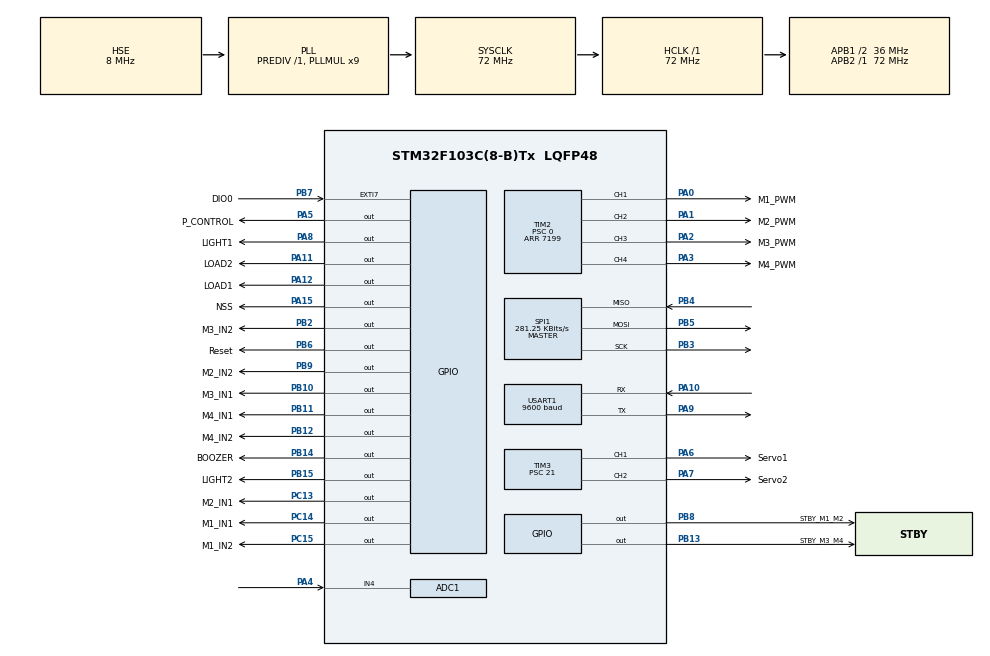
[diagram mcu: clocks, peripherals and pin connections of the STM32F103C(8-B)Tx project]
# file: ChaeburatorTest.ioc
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ADC1.Channel-10\#ChannelRegularConversion=ADC_CHANNEL_4
ADC1.Channel-9\#ChannelRegularConversion=ADC_CHANNEL_4
ADC1.ContinuousConvMode=ENABLE
ADC1.EnableInjectedConversion=DISABLE
ADC1.EnableRegularConversion=ENABLE
ADC1.NbrOfConversion=2
ADC1.NbrOfConversionFlag=1
ADC1.Rank-10\#ChannelRegularConversion=2
ADC1.Rank-9\#ChannelRegularConversion=1
ADC1.SamplingTime-10\#ChannelRegularConversion=ADC_SAMPLETIME_55CYCLES_5
ADC1.SamplingTime-9\#ChannelRegularConversion=ADC_SAMPLETIME_55CYCLES_5
ADC1.master=1
Dma.ADC1.0.Direction=DMA_PERIPH_TO_MEMORY
Dma.ADC1.0.Instance=DMA1_Channel1
Dma.ADC1.0.MemDataAlignment=DMA_MDATAALIGN_HALFWORD
Dma.ADC1.0.MemInc=DMA_MINC_ENABLE
Dma.ADC1.0.Mode=DMA_CIRCULAR
Dma.ADC1.0.PeriphDataAlignment=DMA_PDATAALIGN_HALFWORD
Dma.ADC1.0.PeriphInc=DMA_PINC_DISABLE
Dma.ADC1.0.Priority=DMA_PRIORITY_LOW
Dma.Request0=ADC1
FREERTOS.BinarySemaphores01=SemDMA_LoRa,Dynamic,NULL,Available;SemDMA_UART,Dynamic,NULL,Available;Sem_Time_RxErr,Dynamic,NULL,Available;SemDMA_VoltMeas,Dynamic,NULL,Depleted;SemControlTask,Dynamic,NULL,Depleted
FREERTOS.INCLUDE_uxTaskGetStackHighWaterMark=1
FREERTOS.INCLUDE_xQueueGetMutexHolder=0
FREERTOS.INCLUDE_xSemaphoreGetMutexHolder=0
FREERTOS.INCLUDE_xTaskGetHandle=1
FREERTOS.Queues01=UART_Rx_Que,25,uint8_t,0,Dynamic,NULL,NULL
FREERTOS.Tasks01=Servo,-2,150,StartServo,Default,NULL,Dynamic,NULL,NULL;Servo2,-2,150,StartServo2,Default,NULL,Dynamic,NULL,NULL;EngineTest,-1,150,StartEngineTest,Default,NULL,Dynamic,NULL,NULL;LoRaRx,1,300,StartLoRaRx,Default,NULL,Dynamic,NULL,NULL;RxError,0,300,StartRxError,Default,NULL,Dynamic,NULL,NULL;VoltMeas,-2,256,StartVoltMeas,Default,NULL,Dynamic,NULL,NULL;LightSignal,-2,128,StartLightSignal,Default,NULL,Dynamic,NULL,NULL;SoundAlarm,-2,128,StartSoundAlarm,Default,NULL,Dynamic,NULL,NULL;ControlTask,2,200,StartControlTask,Default,NULL,Dynamic,NULL,NULL;ConsoleTask,-2,426,StartConsoleTask,Default,NULL,Dynamic,NULL,NULL
FREERTOS.configMAX_PRIORITIES=6
FREERTOS.configTOTAL_HEAP_SIZE=11000
FREERTOS.configUSE_COUNTING_SEMAPHORES=0
FREERTOS.configUSE_MUTEXES=1
FREERTOS.configUSE_NEWLIB_REENTRANT=1
FREERTOS.configUSE_TRACE_FACILITY=1
Mcu.Family=STM32F1
Mcu.Name=STM32F103C(8-B)Tx
Mcu.Package=LQFP48
NVIC.DMA1_Channel1_IRQn=true\:5\:0\:false\:false\:true\:true\:false\:true\:true
NVIC.EXTI9_5_IRQn=true\:5\:0\:true\:false\:true\:true\:true\:true\:true
NVIC.PriorityGroup=NVIC_PRIORITYGROUP_4
NVIC.TIM1_UP_IRQn=true\:5\:0\:false\:false\:true\:true\:true\:true\:true
NVIC.USART1_IRQn=true\:5\:0\:true\:false\:true\:true\:true\:true\:true
PA0-WKUP.GPIO_Label=M1_PWM
PA0-WKUP.Signal=S_TIM2_CH1_ETR
PA1.GPIO_Label=M2_PWM
PA1.Signal=S_TIM2_CH2
PA10.Mode=Asynchronous
PA10.Signal=USART1_RX
PA11.GPIO_Label=LOAD2
PA11.GPIO_PuPd=GPIO_PULLDOWN
PA11.Signal=GPIO_Output
PA12.GPIO_Label=LOAD1
PA12.GPIO_PuPd=GPIO_PULLDOWN
PA12.Signal=GPIO_Output
PA13.Mode=Serial_Wire
PA13.Signal=SYS_JTMS-SWDIO
PA14.Mode=Serial_Wire
PA14.Signal=SYS_JTCK-SWCLK
PA15.GPIO_Label=NSS
PA15.GPIO_PuPd=GPIO_PULLUP
PA15.Signal=GPIO_Output
PA2.GPIO_Label=M3_PWM
PA2.Signal=S_TIM2_CH3
PA3.GPIO_Label=M4_PWM
PA3.Signal=S_TIM2_CH4
PA4.Signal=ADCx_IN4
PA5.GPIO_Label=P_CONTROL
PA5.GPIO_PuPd=GPIO_PULLDOWN
PA5.Signal=GPIO_Output
PA6.GPIO_Label=Servo1
PA6.Signal=S_TIM3_CH1
PA7.GPIO_Label=Servo2
PA7.Signal=S_TIM3_CH2
PA8.GPIO_Label=LIGHT1
PA8.GPIO_PuPd=GPIO_PULLUP
PA8.PinState=GPIO_PIN_SET
PA8.Signal=GPIO_Output
PA9.Mode=Asynchronous
PA9.Signal=USART1_TX
PB10.GPIO_Label=M3_IN1
PB10.Signal=GPIO_Output
PB11.GPIO_Label=M4_IN1
PB11.Signal=GPIO_Output
PB12.GPIO_Label=M4_IN2
PB12.Signal=GPIO_Output
PB13.GPIO_Label=STBY_M3_M4
PB13.Signal=GPIO_Output
PB14.GPIO_Label=BOOZER
PB14.GPIO_PuPd=GPIO_PULLDOWN
PB14.Signal=GPIO_Output
PB15.GPIO_Label=LIGHT2
PB15.GPIO_PuPd=GPIO_PULLUP
PB15.PinState=GPIO_PIN_SET
PB15.Signal=GPIO_Output
PB2.GPIO_Label=M3_IN2
PB2.Signal=GPIO_Output
PB3.Mode=Full_Duplex_Master
PB3.Signal=SPI1_SCK
PB4.Mode=Full_Duplex_Master
PB4.Signal=SPI1_MISO
PB5.Mode=Full_Duplex_Master
PB5.Signal=SPI1_MOSI
PB6.GPIO_Label=Reset
PB6.GPIO_PuPd=GPIO_PULLUP
PB6.Signal=GPIO_Output
PB7.GPIO_Label=DIO0
PB7.GPIO_ModeDefaultEXTI=GPIO_MODE_IT_RISING
PB7.GPIO_PuPd=GPIO_PULLDOWN
PB7.Signal=GPXTI7
PB8.GPIO_Label=STBY_M1_M2
PB8.Signal=GPIO_Output
PB9.GPIO_Label=M2_IN2
PB9.Signal=GPIO_Output
PC13-TAMPER-RTC.GPIO_Label=M2_IN1
PC13-TAMPER-RTC.Signal=GPIO_Output
PC14-OSC32_IN.GPIO_Label=M1_IN1
PC14-OSC32_IN.Signal=GPIO_Output
PC15-OSC32_OUT.GPIO_Label=M1_IN2
PC15-OSC32_OUT.GPIO_ModeDefaultOutputPP=GPIO_MODE_OUTPUT_PP
PC15-OSC32_OUT.Signal=GPIO_Output
PD0-OSC_IN.Mode=HSE-External-Oscillator
PD0-OSC_IN.Signal=RCC_OSC_IN
PD1-OSC_OUT.Mode=HSE-External-Oscillator
PD1-OSC_OUT.Signal=RCC_OSC_OUT
ProjectManager.HeapSize=0x200
ProjectManager.StackSize=0x400
ProjectManager.TargetToolchain=STM32CubeIDE
RCC.ADCPresc=RCC_ADCPCLK2_DIV6
RCC.AHBFreq_Value=72000000
RCC.APB1CLKDivider=RCC_HCLK_DIV2
RCC.APB1Freq_Value=36000000
RCC.APB1TimFreq_Value=72000000
RCC.APB2Freq_Value=72000000
RCC.APB2TimFreq_Value=72000000
RCC.HCLKFreq_Value=72000000
RCC.PLLMUL=RCC_PLL_MUL9
RCC.PLLSourceVirtual=RCC_PLLSOURCE_HSE
RCC.SYSCLKFreq_VALUE=72000000
RCC.SYSCLKSource=RCC_SYSCLKSOURCE_PLLCLK
RCC.USBFreq_Value=72000000
SH.ADCx_IN4.0=ADC1_IN4,IN4
SH.S_TIM2_CH1_ETR.0=TIM2_CH1,PWM Generation1 CH1
SH.S_TIM2_CH2.0=TIM2_CH2,PWM Generation2 CH2
SH.S_TIM2_CH3.0=TIM2_CH3,PWM Generation3 CH3
SH.S_TIM2_CH4.0=TIM2_CH4,PWM Generation4 CH4
SH.S_TIM3_CH1.0=TIM3_CH1,PWM Generation1 CH1
SH.S_TIM3_CH2.0=TIM3_CH2,PWM Generation2 CH2
SPI1.BaudRatePrescaler=SPI_BAUDRATEPRESCALER_256
SPI1.CalculateBaudRate=281.25 KBits/s
SPI1.Direction=SPI_DIRECTION_2LINES
SPI1.Mode=SPI_MODE_MASTER
SPI1.VirtualType=VM_MASTER
TIM1.AutoReloadPreload=TIM_AUTORELOAD_PRELOAD_DISABLE
TIM1.Period=7199
TIM1.Prescaler=9999
TIM2.Channel-PWM\ Generation1\ CH1=TIM_CHANNEL_1
TIM2.Channel-PWM\ Generation2\ CH2=TIM_CHANNEL_2
TIM2.Channel-PWM\ Generation3\ CH3=TIM_CHANNEL_3
TIM2.Channel-PWM\ Generation4\ CH4=TIM_CHANNEL_4
TIM2.Period=7199
TIM2.Prescaler=0
TIM3.Channel-PWM\ Generation1\ CH1=TIM_CHANNEL_1
TIM3.Channel-PWM\ Generation2\ CH2=TIM_CHANNEL_2
TIM3.Prescaler=21
USART1.BaudRate=9600
USART1.Parity=PARITY_ODD
USART1.VirtualMode=VM_ASYNC
USART1.WordLength=WORDLENGTH_9B
VP_FREERTOS_VS_CMSIS_V1.Mode=CMSIS_V1
VP_TIM1_VS_ClockSourceINT.Mode=Internal
board=custom

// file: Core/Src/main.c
/* USER CODE BEGIN Header */
/**
  ******************************************************************************
  * @file           : main.c
  * @brief          : Main program body
  ******************************************************************************
  * @attention
  *
  * Copyright (c) 2025 STMicroelectronics.
  * All rights reserved.
  *
  * This software is licensed under terms that can be found in the LICENSE file
  * in the root directory of this software component.
  * If no LICENSE file comes with this software, it is provided AS-IS.
  *
  *
  * Don't forget to comment   HAL_NVIC_EnableIRQ(EXTI9_5_IRQn);
  * IN MX_GPIO_Init()  so as not to disrupt the logic of the work.
  *
  * Add Servo3 Servo4
  *
  *	TIM1 htim1 is configured to interrupt every second.
  *	TIM2 htim2 is configured for 10 kHz interrupts. It is used for motor clocking.
  *	TIM3 htim3 is configured to operate at 50Hz. It is used to control the servo motor.
  *
  *
  * There is not enough memory for output to UART
  *
  *   Configure GPIO pin Output Level
//  HAL_GPIO_WritePin(LIGHT2_GPIO_Port, LIGHT2_Pin, GPIO_PIN_RESET);

	Configure GPIO pin Output Level
//  HAL_GPIO_WritePin(LIGHT1_GPIO_Port, LIGHT1_Pin, GPIO_PIN_RESET);
*/
/* USER CODE END Header */
#include "main.h"
#include "cmsis_os.h"

/* USER CODE BEGIN Includes */
#include "TestChaeburator.h"
#include "UART_Terminal.h"
/* USER CODE END Includes */

ADC_HandleTypeDef hadc1;
DMA_HandleTypeDef hdma_adc1;

SPI_HandleTypeDef hspi1;

TIM_HandleTypeDef htim1;
TIM_HandleTypeDef htim2;
TIM_HandleTypeDef htim3;

UART_HandleTypeDef huart1;

osThreadId ServoHandle;
osThreadId Servo2Handle;
osThreadId EngineTestHandle;
osThreadId LoRaRxHandle;
osThreadId RxErrorHandle;
osThreadId VoltMeasHandle;
osThreadId LightSignalHandle;
osThreadId SoundAlarmHandle;
osThreadId ControlTaskHandle;
osThreadId ConsoleTaskHandle;
osMessageQId UART_Rx_QueHandle;
osSemaphoreId SemDMA_LoRaHandle;
osSemaphoreId SemDMA_UARTHandle;
osSemaphoreId Sem_Time_RxErrHandle;
osSemaphoreId SemDMA_VoltMeasHandle;
osSemaphoreId SemControlTaskHandle;

void SystemClock_Config(void);
static void MX_GPIO_Init(void);
static void MX_DMA_Init(void);
static void MX_TIM3_Init(void);
static void MX_TIM2_Init(void);
static void MX_SPI1_Init(void);
static void MX_USART1_UART_Init(void);
static void MX_TIM1_Init(void);
static void MX_ADC1_Init(void);
void StartServo(void const * argument);
void StartServo2(void const * argument);
void StartEngineTest(void const * argument);
void StartLoRaRx(void const * argument);
void StartRxError(void const * argument);
void StartVoltMeas(void const * argument);
void StartLightSignal(void const * argument);
void StartSoundAlarm(void const * argument);
void StartControlTask(void const * argument);
void StartConsoleTask(void const * argument);

int main(void)
{

  /* MCU Configuration--------------------------------------------------------*/

  /* Reset of all peripherals, Initializes the Flash interface and the Systick. */
  HAL_Init();

  /* Configure the system clock */
  SystemClock_Config();

  /* USER CODE BEGIN SysInit */
//  osSemaphoreDef(SemDMA_LoRa);
//  SemDMA_LoRaHandle = osSemaphoreCreate(osSemaphore(SemDMA_LoRa), 1);
  /* USER CODE END SysInit */

  /* Initialize all configured peripherals */
  MX_GPIO_Init();
  MX_DMA_Init();
  MX_TIM3_Init();
  MX_TIM2_Init();
  MX_SPI1_Init();
  MX_USART1_UART_Init();
  MX_TIM1_Init();
  MX_ADC1_Init();
  /* USER CODE BEGIN 2 */

  // Test
//  TestFunction();
  StartUartRX();

  /* USER CODE END 2 */

  /* Create the semaphores(s) */
  /* definition and creation of SemDMA_LoRa */
  osSemaphoreDef(SemDMA_LoRa);
  SemDMA_LoRaHandle = osSemaphoreCreate(osSemaphore(SemDMA_LoRa), 1);

  /* definition and creation of SemDMA_UART */
  osSemaphoreDef(SemDMA_UART);
  SemDMA_UARTHandle = osSemaphoreCreate(osSemaphore(SemDMA_UART), 1);

  /* definition and creation of Sem_Time_RxErr */
  osSemaphoreDef(Sem_Time_RxErr);
  Sem_Time_RxErrHandle = osSemaphoreCreate(osSemaphore(Sem_Time_RxErr), 1);

  /* definition and creation of SemDMA_VoltMeas */
  osSemaphoreDef(SemDMA_VoltMeas);
  SemDMA_VoltMeasHandle = osSemaphoreCreate(osSemaphore(SemDMA_VoltMeas), 1);

  /* definition and creation of SemControlTask */
  osSemaphoreDef(SemControlTask);
  SemControlTaskHandle = osSemaphoreCreate(osSemaphore(SemControlTask), 1);

  /* USER CODE BEGIN RTOS_SEMAPHORES */
  /* add semaphores, ... */
  osSemaphoreWait(SemControlTaskHandle, 0);
  osSemaphoreWait(SemDMA_VoltMeasHandle, 0);
  /* USER CODE END RTOS_SEMAPHORES */

  /* Create the queue(s) */
  /* definition and creation of UART_Rx_Que */
  osMessageQDef(UART_Rx_Que, 25, uint8_t);
  UART_Rx_QueHandle = osMessageCreate(osMessageQ(UART_Rx_Que), NULL);

  /* Create the thread(s) */
  /* definition and creation of Servo */
//  osThreadDef(Servo, StartServo, osPriorityLow, 0, 150);
//  ServoHandle = osThreadCreate(osThread(Servo), NULL);
//
//  /* definition and creation of Servo2 */
//  osThreadDef(Servo2, StartServo2, osPriorityLow, 0, 150);
//  Servo2Handle = osThreadCreate(osThread(Servo2), NULL);
//
//  /* definition and creation of EngineTest */
//  osThreadDef(EngineTest, StartEngineTest, osPriorityBelowNormal, 0, 150);
//  EngineTestHandle = osThreadCreate(osThread(EngineTest), NULL);
//
//  /* definition and creation of LoRaRx */
//  osThreadDef(LoRaRx, StartLoRaRx, osPriorityAboveNormal, 0, 300);
//  LoRaRxHandle = osThreadCreate(osThread(LoRaRx), NULL);
//
//  /* definition and creation of RxError */
//  osThreadDef(RxError, StartRxError, osPriorityNormal, 0, 300);
//  RxErrorHandle = osThreadCreate(osThread(RxError), NULL);
//
//  /* definition and creation of VoltMeas */
//  osThreadDef(VoltMeas, StartVoltMeas, osPriorityLow, 0, 256);
//  VoltMeasHandle = osThreadCreate(osThread(VoltMeas), NULL);
//
//  /* definition and creation of LightSignal */
//  osThreadDef(LightSignal, StartLightSignal, osPriorityLow, 0, 128);
//  LightSignalHandle = osThreadCreate(osThread(LightSignal), NULL);
//
//  /* definition and creation of SoundAlarm */
//  osThreadDef(SoundAlarm, StartSoundAlarm, osPriorityLow, 0, 128);
//  SoundAlarmHandle = osThreadCreate(osThread(SoundAlarm), NULL);
//
//  /* definition and creation of ControlTask */
//  osThreadDef(ControlTask, StartControlTask, osPriorityHigh, 0, 200);
//  ControlTaskHandle = osThreadCreate(osThread(ControlTask), NULL);

  /* definition and creation of ConsoleTask */
  osThreadDef(ConsoleTask, StartConsoleTask, osPriorityLow, 0, 426);
  ConsoleTaskHandle = osThreadCreate(osThread(ConsoleTask), NULL);

  /* USER CODE BEGIN RTOS_THREADS */
  /* add threads, ... */
  /*
   * I've commented everything out here (all tasks, I think I've finished OS testing).
   * I'll be testing in one task. Before launching the scheduler.
   */
  /* USER CODE END RTOS_THREADS */

  /* Start scheduler */
  osKernelStart();

  /* We should never get here as control is now taken by the scheduler */

  /* Infinite loop */
  while (1)
  {

  }
}

void SystemClock_Config(void)
{
  RCC_OscInitTypeDef RCC_OscInitStruct = {0};
  RCC_ClkInitTypeDef RCC_ClkInitStruct = {0};
  RCC_PeriphCLKInitTypeDef PeriphClkInit = {0};

  /** Initializes the RCC Oscillators according to the specified parameters
  * in the RCC_OscInitTypeDef structure.
  */
  RCC_OscInitStruct.OscillatorType = RCC_OSCILLATORTYPE_HSE;
  RCC_OscInitStruct.HSEState = RCC_HSE_ON;
  RCC_OscInitStruct.HSEPredivValue = RCC_HSE_PREDIV_DIV1;
  RCC_OscInitStruct.HSIState = RCC_HSI_ON;
  RCC_OscInitStruct.PLL.PLLState = RCC_PLL_ON;
  RCC_OscInitStruct.PLL.PLLSource = RCC_PLLSOURCE_HSE;
  RCC_OscInitStruct.PLL.PLLMUL = RCC_PLL_MUL9;
  if (HAL_RCC_OscConfig(&RCC_OscInitStruct) != HAL_OK)
  {
    Error_Handler();
  }

  /** Initializes the CPU, AHB and APB buses clocks
  */
  RCC_ClkInitStruct.ClockType = RCC_CLOCKTYPE_HCLK|RCC_CLOCKTYPE_SYSCLK
                              |RCC_CLOCKTYPE_PCLK1|RCC_CLOCKTYPE_PCLK2;
  RCC_ClkInitStruct.SYSCLKSource = RCC_SYSCLKSOURCE_PLLCLK;
  RCC_ClkInitStruct.AHBCLKDivider = RCC_SYSCLK_DIV1;
  RCC_ClkInitStruct.APB1CLKDivider = RCC_HCLK_DIV2;
  RCC_ClkInitStruct.APB2CLKDivider = RCC_HCLK_DIV1;

  if (HAL_RCC_ClockConfig(&RCC_ClkInitStruct, FLASH_LATENCY_2) != HAL_OK)
  {
    Error_Handler();
  }
  PeriphClkInit.PeriphClockSelection = RCC_PERIPHCLK_ADC;
  PeriphClkInit.AdcClockSelection = RCC_ADCPCLK2_DIV6;
  if (HAL_RCCEx_PeriphCLKConfig(&PeriphClkInit) != HAL_OK)
  {
    Error_Handler();
  }
}

static void MX_ADC1_Init(void)
{

  ADC_ChannelConfTypeDef sConfig = {0};

  /** Common config
  */
  hadc1.Instance = ADC1;
  hadc1.Init.ScanConvMode = ADC_SCAN_ENABLE;
  hadc1.Init.ContinuousConvMode = ENABLE;
  hadc1.Init.DiscontinuousConvMode = DISABLE;
  hadc1.Init.ExternalTrigConv = ADC_SOFTWARE_START;
  hadc1.Init.DataAlign = ADC_DATAALIGN_RIGHT;
  hadc1.Init.NbrOfConversion = 2;
  if (HAL_ADC_Init(&hadc1) != HAL_OK)
  {
    Error_Handler();
  }

  /** Configure Regular Channel
  */
  sConfig.Channel = ADC_CHANNEL_4;
  sConfig.Rank = ADC_REGULAR_RANK_1;
  sConfig.SamplingTime = ADC_SAMPLETIME_55CYCLES_5;
  if (HAL_ADC_ConfigChannel(&hadc1, &sConfig) != HAL_OK)
  {
    Error_Handler();
  }

  /** Configure Regular Channel
  */
  sConfig.Rank = ADC_REGULAR_RANK_2;
  if (HAL_ADC_ConfigChannel(&hadc1, &sConfig) != HAL_OK)
  {
    Error_Handler();
  }

}

static void MX_SPI1_Init(void)
{

  /* SPI1 parameter configuration*/
  hspi1.Instance = SPI1;
  hspi1.Init.Mode = SPI_MODE_MASTER;
  hspi1.Init.Direction = SPI_DIRECTION_2LINES;
  hspi1.Init.DataSize = SPI_DATASIZE_8BIT;
  hspi1.Init.CLKPolarity = SPI_POLARITY_LOW;
  hspi1.Init.CLKPhase = SPI_PHASE_1EDGE;
  hspi1.Init.NSS = SPI_NSS_SOFT;
  hspi1.Init.BaudRatePrescaler = SPI_BAUDRATEPRESCALER_256;
  hspi1.Init.FirstBit = SPI_FIRSTBIT_MSB;
  hspi1.Init.TIMode = SPI_TIMODE_DISABLE;
  hspi1.Init.CRCCalculation = SPI_CRCCALCULATION_DISABLE;
  hspi1.Init.CRCPolynomial = 10;
  if (HAL_SPI_Init(&hspi1) != HAL_OK)
  {
    Error_Handler();
  }

}

static void MX_TIM1_Init(void)
{

  TIM_ClockConfigTypeDef sClockSourceConfig = {0};
  TIM_MasterConfigTypeDef sMasterConfig = {0};

  htim1.Instance = TIM1;
  htim1.Init.Prescaler = 9999;
  htim1.Init.CounterMode = TIM_COUNTERMODE_UP;
  htim1.Init.Period = 7199;
  htim1.Init.ClockDivision = TIM_CLOCKDIVISION_DIV1;
  htim1.Init.RepetitionCounter = 0;
  htim1.Init.AutoReloadPreload = TIM_AUTORELOAD_PRELOAD_DISABLE;
  if (HAL_TIM_Base_Init(&htim1) != HAL_OK)
  {
    Error_Handler();
  }
  sClockSourceConfig.ClockSource = TIM_CLOCKSOURCE_INTERNAL;
  if (HAL_TIM_ConfigClockSource(&htim1, &sClockSourceConfig) != HAL_OK)
  {
    Error_Handler();
  }
  sMasterConfig.MasterOutputTrigger = TIM_TRGO_RESET;
  sMasterConfig.MasterSlaveMode = TIM_MASTERSLAVEMODE_DISABLE;
  if (HAL_TIMEx_MasterConfigSynchronization(&htim1, &sMasterConfig) != HAL_OK)
  {
    Error_Handler();
  }

}

static void MX_TIM2_Init(void)
{

  TIM_MasterConfigTypeDef sMasterConfig = {0};
  TIM_OC_InitTypeDef sConfigOC = {0};

  htim2.Instance = TIM2;
  htim2.Init.Prescaler = 0;
  htim2.Init.CounterMode = TIM_COUNTERMODE_UP;
  htim2.Init.Period = 7199;
  htim2.Init.ClockDivision = TIM_CLOCKDIVISION_DIV1;
  htim2.Init.AutoReloadPreload = TIM_AUTORELOAD_PRELOAD_DISABLE;
  if (HAL_TIM_PWM_Init(&htim2) != HAL_OK)
  {
    Error_Handler();
  }
  sMasterConfig.MasterOutputTrigger = TIM_TRGO_RESET;
  sMasterConfig.MasterSlaveMode = TIM_MASTERSLAVEMODE_DISABLE;
  if (HAL_TIMEx_MasterConfigSynchronization(&htim2, &sMasterConfig) != HAL_OK)
  {
    Error_Handler();
  }
  sConfigOC.OCMode = TIM_OCMODE_PWM1;
  sConfigOC.Pulse = 0;
  sConfigOC.OCPolarity = TIM_OCPOLARITY_HIGH;
  sConfigOC.OCFastMode = TIM_OCFAST_DISABLE;
  if (HAL_TIM_PWM_ConfigChannel(&htim2, &sConfigOC, TIM_CHANNEL_1) != HAL_OK)
  {
    Error_Handler();
  }
  if (HAL_TIM_PWM_ConfigChannel(&htim2, &sConfigOC, TIM_CHANNEL_2) != HAL_OK)
  {
    Error_Handler();
  }
  if (HAL_TIM_PWM_ConfigChannel(&htim2, &sConfigOC, TIM_CHANNEL_3) != HAL_OK)
  {
    Error_Handler();
  }
  if (HAL_TIM_PWM_ConfigChannel(&htim2, &sConfigOC, TIM_CHANNEL_4) != HAL_OK)
  {
    Error_Handler();
  }
  HAL_TIM_MspPostInit(&htim2);

}

static void MX_TIM3_Init(void)
{

  TIM_MasterConfigTypeDef sMasterConfig = {0};
  TIM_OC_InitTypeDef sConfigOC = {0};

  htim3.Instance = TIM3;
  htim3.Init.Prescaler = 21;
  htim3.Init.CounterMode = TIM_COUNTERMODE_UP;
  htim3.Init.Period = 65535;
  htim3.Init.ClockDivision = TIM_CLOCKDIVISION_DIV1;
  htim3.Init.AutoReloadPreload = TIM_AUTORELOAD_PRELOAD_DISABLE;
  if (HAL_TIM_PWM_Init(&htim3) != HAL_OK)
  {
    Error_Handler();
  }
  sMasterConfig.MasterOutputTrigger = TIM_TRGO_RESET;
  sMasterConfig.MasterSlaveMode = TIM_MASTERSLAVEMODE_DISABLE;
  if (HAL_TIMEx_MasterConfigSynchronization(&htim3, &sMasterConfig) != HAL_OK)
  {
    Error_Handler();
  }
  sConfigOC.OCMode = TIM_OCMODE_PWM1;
  sConfigOC.Pulse = 0;
  sConfigOC.OCPolarity = TIM_OCPOLARITY_HIGH;
  sConfigOC.OCFastMode = TIM_OCFAST_DISABLE;
  if (HAL_TIM_PWM_ConfigChannel(&htim3, &sConfigOC, TIM_CHANNEL_1) != HAL_OK)
  {
    Error_Handler();
  }
  if (HAL_TIM_PWM_ConfigChannel(&htim3, &sConfigOC, TIM_CHANNEL_2) != HAL_OK)
  {
    Error_Handler();
  }
  HAL_TIM_MspPostInit(&htim3);

}

static void MX_USART1_UART_Init(void)
{

  huart1.Instance = USART1;
  huart1.Init.BaudRate = 9600;
  huart1.Init.WordLength = UART_WORDLENGTH_9B;
  huart1.Init.StopBits = UART_STOPBITS_1;
  huart1.Init.Parity = UART_PARITY_ODD;
  huart1.Init.Mode = UART_MODE_TX_RX;
  huart1.Init.HwFlowCtl = UART_HWCONTROL_NONE;
  huart1.Init.OverSampling = UART_OVERSAMPLING_16;
  if (HAL_UART_Init(&huart1) != HAL_OK)
  {
    Error_Handler();
  }

}

static void MX_DMA_Init(void)
{

  /* DMA controller clock enable */
  __HAL_RCC_DMA1_CLK_ENABLE();

  /* DMA interrupt init */
  /* DMA1_Channel1_IRQn interrupt configuration */
  HAL_NVIC_SetPriority(DMA1_Channel1_IRQn, 5, 0);
  HAL_NVIC_EnableIRQ(DMA1_Channel1_IRQn);

}

static void MX_GPIO_Init(void)
{
  GPIO_InitTypeDef GPIO_InitStruct = {0};

  /* GPIO Ports Clock Enable */
  __HAL_RCC_GPIOC_CLK_ENABLE();
  __HAL_RCC_GPIOD_CLK_ENABLE();
  __HAL_RCC_GPIOA_CLK_ENABLE();
  __HAL_RCC_GPIOB_CLK_ENABLE();

  /*Configure GPIO pin Output Level */
  HAL_GPIO_WritePin(GPIOC, M2_IN1_Pin|M1_IN1_Pin|M1_IN2_Pin, GPIO_PIN_RESET);

  /*Configure GPIO pin Output Level */
  HAL_GPIO_WritePin(GPIOA, P_CONTROL_Pin|LOAD2_Pin|LOAD1_Pin|NSS_Pin, GPIO_PIN_RESET);

  /*Configure GPIO pin Output Level */
  HAL_GPIO_WritePin(GPIOB, M3_IN2_Pin|M3_IN1_Pin|M4_IN1_Pin|M4_IN2_Pin
                          |STBY_M3_M4_Pin|BOOZER_Pin|Reset_Pin|STBY_M1_M2_Pin
                          |M2_IN2_Pin, GPIO_PIN_RESET);

  /*Configure GPIO pin Output Level */
  HAL_GPIO_WritePin(LIGHT2_GPIO_Port, LIGHT2_Pin, GPIO_PIN_SET);

  /*Configure GPIO pin Output Level */
  HAL_GPIO_WritePin(LIGHT1_GPIO_Port, LIGHT1_Pin, GPIO_PIN_SET);

  /*Configure GPIO pins : M2_IN1_Pin M1_IN1_Pin M1_IN2_Pin */
  GPIO_InitStruct.Pin = M2_IN1_Pin|M1_IN1_Pin|M1_IN2_Pin;
  GPIO_InitStruct.Mode = GPIO_MODE_OUTPUT_PP;
  GPIO_InitStruct.Pull = GPIO_NOPULL;
  GPIO_InitStruct.Speed = GPIO_SPEED_FREQ_LOW;
  HAL_GPIO_Init(GPIOC, &GPIO_InitStruct);

  /*Configure GPIO pins : P_CONTROL_Pin LOAD2_Pin LOAD1_Pin */
  GPIO_InitStruct.Pin = P_CONTROL_Pin|LOAD2_Pin|LOAD1_Pin;
  GPIO_InitStruct.Mode = GPIO_MODE_OUTPUT_PP;
  GPIO_InitStruct.Pull = GPIO_PULLDOWN;
  GPIO_InitStruct.Speed = GPIO_SPEED_FREQ_LOW;
  HAL_GPIO_Init(GPIOA, &GPIO_InitStruct);

  /*Configure GPIO pins : M3_IN2_Pin M3_IN1_Pin M4_IN1_Pin M4_IN2_Pin
                           STBY_M3_M4_Pin STBY_M1_M2_Pin M2_IN2_Pin */
  GPIO_InitStruct.Pin = M3_IN2_Pin|M3_IN1_Pin|M4_IN1_Pin|M4_IN2_Pin
                          |STBY_M3_M4_Pin|STBY_M1_M2_Pin|M2_IN2_Pin;
  GPIO_InitStruct.Mode = GPIO_MODE_OUTPUT_PP;
  GPIO_InitStruct.Pull = GPIO_NOPULL;
  GPIO_InitStruct.Speed = GPIO_SPEED_FREQ_LOW;
  HAL_GPIO_Init(GPIOB, &GPIO_InitStruct);

  /*Configure GPIO pin : BOOZER_Pin */
  GPIO_InitStruct.Pin = BOOZER_Pin;
  GPIO_InitStruct.Mode = GPIO_MODE_OUTPUT_PP;
  GPIO_InitStruct.Pull = GPIO_PULLDOWN;
  GPIO_InitStruct.Speed = GPIO_SPEED_FREQ_LOW;
  HAL_GPIO_Init(BOOZER_GPIO_Port, &GPIO_InitStruct);

  /*Configure GPIO pins : LIGHT2_Pin Reset_Pin */
  GPIO_InitStruct.Pin = LIGHT2_Pin|Reset_Pin;
  GPIO_InitStruct.Mode = GPIO_MODE_OUTPUT_PP;
  GPIO_InitStruct.Pull = GPIO_PULLUP;
  GPIO_InitStruct.Speed = GPIO_SPEED_FREQ_LOW;
  HAL_GPIO_Init(GPIOB, &GPIO_InitStruct);

  /*Configure GPIO pins : LIGHT1_Pin NSS_Pin */
  GPIO_InitStruct.Pin = LIGHT1_Pin|NSS_Pin;
  GPIO_InitStruct.Mode = GPIO_MODE_OUTPUT_PP;
  GPIO_InitStruct.Pull = GPIO_PULLUP;
  GPIO_InitStruct.Speed = GPIO_SPEED_FREQ_LOW;
  HAL_GPIO_Init(GPIOA, &GPIO_InitStruct);

  /*Configure GPIO pin : DIO0_Pin */
  GPIO_InitStruct.Pin = DIO0_Pin;
  GPIO_InitStruct.Mode = GPIO_MODE_IT_RISING;
  GPIO_InitStruct.Pull = GPIO_PULLDOWN;
  HAL_GPIO_Init(DIO0_GPIO_Port, &GPIO_InitStruct);

  /* EXTI interrupt init*/
  HAL_NVIC_SetPriority(EXTI9_5_IRQn, 5, 0);
  HAL_NVIC_EnableIRQ(EXTI9_5_IRQn);

/* USER CODE BEGIN MX_GPIO_Init_2 */
//  HAL_NVIC_EnableIRQ(EXTI9_5_IRQn);
/* USER CODE END MX_GPIO_Init_2 */
}

void StartServo(void const * argument)
{
  /* USER CODE BEGIN 5 */
	ServoStartInit(&htim3, TIM_CHANNEL_1);
 	int8_t TurnNum = 0;
	float angle = 0;
	float RotAngle = 1.4111;
	osDelay(2000);
  /* Infinite loop */
  for(;;)
  {
//	  for every degree of rotation 1.4111111111111111111111111111111
	  do {
		  angle += 10;
		  TurnNum = (int8_t)(angle * RotAngle);
		  SteeringWheel(&htim3, TIM_CHANNEL_1, TurnNum);
		  osDelay(1000);
	  }
	  while(angle<90);
	  do {
		  angle -= 10;
		  TurnNum = (int8_t)(angle * RotAngle);
		  SteeringWheel(&htim3, TIM_CHANNEL_1, TurnNum);
		  osDelay(1000);
	  }
	  while(angle>-90);
  }
  /* USER CODE END 5 */
}

void StartServo2(void const * argument)
{
  /* USER CODE BEGIN StartServo2 */
	ServoStartInit(&htim3, TIM_CHANNEL_2);
	 	int8_t TurnNum = 0;
		double angle = 0;
		double RotAngle = 1.4111;
		osDelay(1000);
  /* Infinite loop */
  for(;;)
  {
	  //	  for every degree of rotation 1.4111111111111111111111111111111
	  	  do {
	  		  angle += 10;
	  		  TurnNum = (int8_t)(angle * RotAngle);
	  		  SteeringWheel(&htim3, TIM_CHANNEL_2, TurnNum);
	  		  osDelay(1000);
	  	  }
	  	  while(angle<90);
	  	  do {
	  		  angle -= 10;
	  		  TurnNum = (int8_t)(angle * RotAngle);
	  		  SteeringWheel(&htim3, TIM_CHANNEL_2, TurnNum);
	  		  osDelay(1000);
	  	  }
	  	  while(angle>-90);
  }
  /* USER CODE END StartServo2 */
}

void StartEngineTest(void const * argument)
{
  /* USER CODE BEGIN StartEngineTest */
	int8_t acceleration = 5;
  /* Infinite loop */
  for(;;)
  {
//	  ==============================================
	  HAL_TIM_PWM_Start(&htim2, TIM_CHANNEL_1);
	  do{
		  Brushed2DC_Control(&htim2, TIM_CHANNEL_1, TIM_CHANNEL_2, acceleration, \
				  	  	  	  DirectRotCW, DirectRotCCW);
		  acceleration += 10;
		  osDelay(1000);
	  }
	  while(acceleration < 66);

	  do{
		  Brushed2DC_Control(&htim2, TIM_CHANNEL_1, TIM_CHANNEL_2, acceleration, \
				  	  	  	  	DirectRotCW, DirectRotCCW);
		  acceleration -= 10;
		  osDelay(1000);
	  }
	  while(acceleration > -66);
	  HAL_TIM_PWM_Stop(&htim2, TIM_CHANNEL_1);

//	  =================================================
	  acceleration = 5;
	  Brushed2DC_Control(&htim2, TIM_CHANNEL_1, TIM_CHANNEL_2, acceleration, \
	  	  				  	  	  	  DirectRotCW, DirectRotCCW);
	  HAL_TIM_PWM_Start(&htim2, TIM_CHANNEL_2);
	  	  do{
	  		  Brushed2DC_Control(&htim2, TIM_CHANNEL_1, TIM_CHANNEL_2, acceleration, \
	  				  	  	  	  DirectRotCW, DirectRotCCW);
	  		  acceleration += 10;
	  		  osDelay(1000);
	  	  }
	  	  while(acceleration < 66);

	  	  do{
	  		  Brushed2DC_Control(&htim2, TIM_CHANNEL_1, TIM_CHANNEL_2, acceleration, \
	  				  	  	  	  	DirectRotCW, DirectRotCCW);
	  		  acceleration -= 10;
	  		  osDelay(1000);
	  	  }
	  	  while(acceleration > -66);
	 HAL_TIM_PWM_Stop(&htim2, TIM_CHANNEL_2);

//	 ===============================================
	 acceleration = 5;
	 Brushed2DC_Control(&htim2, TIM_CHANNEL_1, TIM_CHANNEL_2, acceleration, \
	 	  	  				  	  	  	  DirectRotCW, DirectRotCCW);
	 HAL_TIM_PWM_Start(&htim2, TIM_CHANNEL_1);
	 HAL_TIM_PWM_Start(&htim2, TIM_CHANNEL_2);
 	  do{
 		  Brushed2DC_Control(&htim2, TIM_CHANNEL_1, TIM_CHANNEL_2, acceleration, \
 				  	  	  	  DirectRotCW, DirectRotCCW);
 		  acceleration += 10;
 		  osDelay(1000);
 	  }
 	  while(acceleration < 66);

 	//�������� �������.
 	  do{
 		  Brushed2DC_Control(&htim2, TIM_CHANNEL_1, TIM_CHANNEL_2, acceleration, \
 				  	  	  	  	DirectRotCW, DirectRotCCW);
 		  acceleration -= 10;
 		  osDelay(1000);
 	  }
 	  while(acceleration > -66);
 	 HAL_TIM_PWM_Stop(&htim2, TIM_CHANNEL_1);
 	 HAL_TIM_PWM_Stop(&htim2, TIM_CHANNEL_2);
 	 acceleration = 0;
    osDelay(1);
  }
  /* USER CODE END StartEngineTest */
}

/* USER CODE BEGIN Header_StartLoRaRx */
/**
* @brief Function implementing the LoRaRx thread.
* @param argument: Not used
* @retval None
* PB7 	DIO0
* PB6	Reset
* PB5	SPI1_MOSI
* PB4	SPII_MISO
* PB3	SPI1_SCK
* PA15	NSS
*/
/* USER CODE END Header_StartLoRaRx */
void StartLoRaRx(void const * argument)
{
  /* USER CODE BEGIN StartLoRaRx */
	SX1276Init();
	InitRxContLoRa();
	StartRxContLoRa();
	HAL_NVIC_EnableIRQ(EXTI9_5_IRQn);
  /* Infinite loop */
  for(;;)
  {		// Waits for semaphore from DMA
	  xSemaphoreTake(SemDMA_LoRaHandle,portMAX_DELAY);

	  // generates an array of commands based on the received data
	  CalcRxCommands();
	  StartRxContLoRa();
  }
  /* USER CODE END StartLoRaRx */
}

/* USER CODE BEGIN Header_StartRxError */
/**
* @brief Function implementing the RxError thread.
* @param argument: Not used
* @retval None
* LIGHT1 == PA8
* LIGHT2 == PB15
* BOOZER == PB14
*/
/* USER CODE END Header_StartRxError */
void StartRxError(void const * argument)
{
  /* USER CODE BEGIN StartRxError */
	//I turn on the timer
	HAL_TIM_Base_Start_IT(&htim1);
  /* Infinite loop */
  for(;;)
  {
	  // Waits for a signal from an interrupt
	  xSemaphoreTake(Sem_Time_RxErrHandle,portMAX_DELAY);
	  // Zeroes out the array of commands and pauses the receiving task
	  SX1276LoRaSetOpMode( RFLR_OPMODE_STANDBY ); // Stopping receiving packages.
	  ZeroCommArr();	// I reset all commands.
	  vTaskSuspend(LoRaRxHandle);

	  //Start light and sound alarm
	  vTaskResume(SoundAlarmHandle);
	  vTaskResume(LightSignalHandle);

	  osDelay(800);
	  vTaskResume(LoRaRxHandle);
	  StartRxContLoRa();

  }
  /* USER CODE END StartRxError */
}

void StartVoltMeas(void const * argument)
{
  /* USER CODE BEGIN StartVoltMeas */
	float U = 0;
	// calibration to improve accuracy
	HAL_ADCEx_Calibration_Start(&hadc1);
  /* Infinite loop */
  for(;;)
  {

	  StartMeasure();
	  //Waiting for a semophore indicating that the transformation is complete.
  	  xSemaphoreTake(SemDMA_VoltMeasHandle,portMAX_DELAY);

	   //calculation of the obtained values
  	  U = VoltageCalc();

  	  BatteryStatus = CheckBatVolt(U);

  	  switch (BatteryStatus) {

  	  case VOLT_CAUTION :{ // Unlocking the Low Voltage Alarm Task
  		  vTaskResume(LightSignalHandle);
  		  break;
  	  }
  	  case VOLT_SHUTDOWN :{ // unlock alarm and block all tasks
  		  //turns off the camera
  		  HAL_GPIO_WritePin(P_CONTROL_GPIO_Port, P_CONTROL_Pin, GPIO_PIN_RESET);

  		  vTaskSuspend(ServoHandle);
  		  vTaskSuspend(Servo2Handle);
  		  vTaskSuspend(EngineTestHandle);
  		  //turns off the engines.!!!!

  		  vTaskSuspend(LoRaRxHandle);
//  		  vTaskSuspend(OutUartHandle);
  		  vTaskSuspend(RxErrorHandle);

  		  vTaskResume(LightSignalHandle);
  	  	  vTaskResume(SoundAlarmHandle);
  	  	  vTaskSuspend(NULL);

  		  break;
  	  }

  	  }
  	//Stops itself. So as not to start the measurements again.
	  osDelay(4000);
  }
  /* USER CODE END StartVoltMeas */
}

/* USER CODE BEGIN Header_StartLightSignal */
/**
* @brief Function implementing the LightSignal thread.
* @param argument: Not used
* @retval None
* Light signaling
*/
/* USER CODE END Header_StartLightSignal */
void StartLightSignal(void const * argument)
{
  /* USER CODE BEGIN StartLightSignal */
	vTaskSuspend(NULL);
  /* Infinite loop */
  for(;;)
  {
	  HAL_GPIO_WritePin(LIGHT1_GPIO_Port, LIGHT1_Pin, GPIO_PIN_RESET);
	  osDelay(500);
	  HAL_GPIO_WritePin(LIGHT1_GPIO_Port, LIGHT1_Pin, GPIO_PIN_SET);
	  osDelay(500);
  }
  /* USER CODE END StartLightSignal */
}

void StartSoundAlarm(void const * argument)
{
  /* USER CODE BEGIN StartSoundAlarm */
	vTaskSuspend(NULL);
  /* Infinite loop */
  for(;;)
  {
	  HAL_GPIO_WritePin(BOOZER_GPIO_Port, BOOZER_Pin, GPIO_PIN_SET);
	  osDelay(500);
	  HAL_GPIO_WritePin(BOOZER_GPIO_Port, BOOZER_Pin, GPIO_PIN_RESET);
	  osDelay(500);
  }
  /* USER CODE END StartSoundAlarm */
}

void StartControlTask(void const * argument)
{
  /* USER CODE BEGIN StartControlTask */
  /* Infinite loop */
  for(;;)
  {
	  xSemaphoreTake(SemControlTaskHandle,portMAX_DELAY);
	  HAL_GPIO_WritePin(BOOZER_GPIO_Port, BOOZER_Pin, GPIO_PIN_RESET);
	  vTaskSuspend(SoundAlarmHandle);
	  HAL_GPIO_WritePin(LIGHT1_GPIO_Port, LIGHT1_Pin, GPIO_PIN_SET);
	  vTaskSuspend(LightSignalHandle);
  }
  /* USER CODE END StartControlTask */
}

void StartConsoleTask(void const * argument)
{
  /* USER CODE BEGIN StartConsoleTask */
	uint8_t Buffer[64];
	uint32_t len;
	MyConsole_Setup();
  /* Infinite loop */
  for(;;)
  {
      len = USART1_Receive(0x0D,Buffer,sizeof(Buffer),portMAX_DELAY);
      console_process(Buffer, len);
  }
  /* USER CODE END StartConsoleTask */
}

void Error_Handler(void)
{
  __disable_irq();
  while (1)
  {
  }
}
